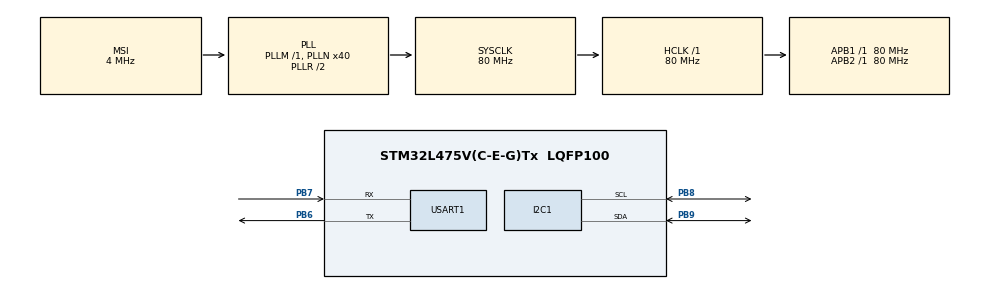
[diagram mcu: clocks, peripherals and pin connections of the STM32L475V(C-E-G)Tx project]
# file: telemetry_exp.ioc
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I2C1.Timing=0x10D19CE4
Mcu.Family=STM32L4
Mcu.Name=STM32L475V(C-E-G)Tx
Mcu.Package=LQFP100
NVIC.PriorityGroup=NVIC_PRIORITYGROUP_4
PB6.Mode=Asynchronous
PB6.Signal=USART1_TX
PB7.Mode=Asynchronous
PB7.Signal=USART1_RX
PB8.Mode=I2C
PB8.Signal=I2C1_SCL
PB9.Mode=I2C
PB9.Signal=I2C1_SDA
PH0-OSC_IN\ (PH0).Mode=HSE-External-Clock-Source
PH0-OSC_IN\ (PH0).Signal=RCC_OSC_IN
ProjectManager.HeapSize=0x200
ProjectManager.StackSize=0x400
ProjectManager.TargetToolchain=STM32CubeIDE
RCC.AHBFreq_Value=80000000
RCC.APB1Freq_Value=80000000
RCC.APB1TimFreq_Value=80000000
RCC.APB2Freq_Value=80000000
RCC.APB2TimFreq_Value=80000000
RCC.CortexFreq_Value=80000000
RCC.HCLKFreq_Value=80000000
RCC.HSE_VALUE=8000000
RCC.HSI_VALUE=16000000
RCC.LSE_VALUE=32768
RCC.MSI_VALUE=4000000
RCC.PLLN=40
RCC.SYSCLKFreq_VALUE=80000000
RCC.SYSCLKSource=RCC_SYSCLKSOURCE_PLLCLK
RCC.VCOOutputFreq_Value=160000000
USART1.VirtualMode-Asynchronous=VM_ASYNC
board=custom

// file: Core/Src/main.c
/* USER CODE BEGIN Header */
/**
  ******************************************************************************
  * @file           : main.c
  * @brief          : Main program body
  ******************************************************************************
  * @attention
  *
  * Copyright (c) 2026 STMicroelectronics.
  * All rights reserved.
  *
  * This software is licensed under terms that can be found in the LICENSE file
  * in the root directory of this software component.
  * If no LICENSE file comes with this software, it is provided AS-IS.
  *
  ******************************************************************************
  */
/* USER CODE END Header */
#include "main.h"

/* USER CODE BEGIN Includes */
#include "stm32l475e_iot01.h"
#include "stm32l475e_iot01_hsensor.h"
#include "stm32l475e_iot01_tsensor.h"
#include "stm32l475e_iot01_psensor.h"
#include "stm32l475e_iot01_accelero.h"
#include <math.h>
#include <string.h>
#include <stdio.h>
#include "stdlib.h"
/* USER CODE END Includes */

I2C_HandleTypeDef hi2c1;

UART_HandleTypeDef huart1;

/* USER CODE BEGIN PV */
char msg_motion[50] = "LSM6DSL motion sensor initialized\r\n";
char str_accel[100];
int16_t accel_data[3]; /* Accelerometer usually returns raw 16-bit integers */
char str1[40];
float p_value = 0;  // Measured pressure value
char str_pres[100] = ""; // Formatted message to display the pressure value
uint8_t msg3[] = "=====> Pressure sensor lps22hb initialized \r\n ";
char str2[50];
float temp_value = 0;
float hum_value = 0;// Measured temperature value
char str_tmp[100] = ""; // Formatted message to display the temperature value
uint8_t msg4[] = "=====> Temperature sensor HTS221 initialized \r\n ";

/* USER CODE END PV */

void SystemClock_Config(void);
static void MX_GPIO_Init(void);
static void MX_I2C1_Init(void);
static void MX_USART1_UART_Init(void);

int main(void)
{

  /* MCU Configuration--------------------------------------------------------*/

  /* Reset of all peripherals, Initializes the Flash interface and the Systick. */
  HAL_Init();

  /* Configure the system clock */
  SystemClock_Config();

  /* Initialize all configured peripherals */
  MX_GPIO_Init();
  MX_I2C1_Init();
  MX_USART1_UART_Init();
  /* USER CODE BEGIN 2 */
  HAL_UART_Transmit(&huart1,msg3,sizeof(msg3),1000);
   if (BSP_PSENSOR_Init() != PSENSOR_OK)
     {
         // Optional: Send an error message if init fails
         char err_msg[] = "Sensor Init Error\r\n";
         HAL_UART_Transmit(&huart1, (uint8_t*)err_msg, strlen(err_msg), 1000);
     }
   if (BSP_ACCELERO_Init() != ACCELERO_OK)
     {
         char errmsg[] = "Motion sensor Init Error\r\n";
         HAL_UART_Transmit(&huart1, (uint8_t*)errmsg, strlen(errmsg), 1000);
         while(1); // Stop here if init fails
     }
   else
    {
        HAL_UART_Transmit(&huart1, (uint8_t*)msg_motion, strlen(msg_motion), 1000);
    }
    HAL_Delay(100);
    if (BSP_HSENSOR_Init() != HSENSOR_OK) {  // Use HSENSOR for both!
      uint8_t error[] = "SENSOR INIT FAILED!\r\n";
     HAL_UART_Transmit(&huart1, error, sizeof(error)-1, 1000);
     } else {
     uint8_t ok[] = "HTS221 OK - T+H Working\r\n";
     HAL_UART_Transmit(&huart1, ok, sizeof(ok)-1, 1000);
      }
      HAL_UART_Transmit(&huart1, msg3, sizeof(msg3), 1000);
      BSP_TSENSOR_Init();
      BSP_HSENSOR_Init();
    HAL_UART_Transmit(&huart1,msg3,sizeof(msg3),1000);

  /* USER CODE END 2 */

  /* Infinite loop */
  while (1)
  {
	  float hum_value = BSP_HSENSOR_ReadHumidity();
	  float temp_value = BSP_TSENSOR_ReadTemp();  // ← SAME SENSOR!
	   // Debug both values
	  sprintf(str2, "Temperature:%.1fC Humidity:%.0f%%\r\n", temp_value, hum_value);
	  HAL_UART_Transmit(&huart1, (uint8_t*)str2, strlen(str2), 1000);
	  HAL_Delay(1000);
	  p_value = BSP_PSENSOR_ReadPressure();
	  sprintf(str_tmp, "Pressure:%.1f\n\r", p_value);
	  HAL_UART_Transmit(&huart1, (uint8_t*)str_tmp, strlen(str_tmp), 1000);  // Use strlen()
	  HAL_Delay(1000);
	  BSP_ACCELERO_AccGetXYZ(accel_data);
	  sprintf(str_accel, "Accelero: X=%.2f, Y=%.2f, Z=%.2f mg\r\n\r\n",(float)accel_data[0]/1000.0f, (float)accel_data[1]/1000.0f, (float)accel_data[2]/1000.0f);
	  HAL_UART_Transmit(&huart1, (uint8_t*)str_accel, strlen(str_accel), 1000);
	  HAL_Delay(1000);

  }
}

void SystemClock_Config(void)
{
  RCC_OscInitTypeDef RCC_OscInitStruct = {0};
  RCC_ClkInitTypeDef RCC_ClkInitStruct = {0};

  /** Configure the main internal regulator output voltage
  */
  if (HAL_PWREx_ControlVoltageScaling(PWR_REGULATOR_VOLTAGE_SCALE1) != HAL_OK)
  {
    Error_Handler();
  }

  /** Initializes the RCC Oscillators according to the specified parameters
  * in the RCC_OscInitTypeDef structure.
  */
  RCC_OscInitStruct.OscillatorType = RCC_OSCILLATORTYPE_MSI;
  RCC_OscInitStruct.MSIState = RCC_MSI_ON;
  RCC_OscInitStruct.MSICalibrationValue = 0;
  RCC_OscInitStruct.MSIClockRange = RCC_MSIRANGE_6;
  RCC_OscInitStruct.PLL.PLLState = RCC_PLL_ON;
  RCC_OscInitStruct.PLL.PLLSource = RCC_PLLSOURCE_MSI;
  RCC_OscInitStruct.PLL.PLLM = 1;
  RCC_OscInitStruct.PLL.PLLN = 40;
  RCC_OscInitStruct.PLL.PLLP = RCC_PLLP_DIV7;
  RCC_OscInitStruct.PLL.PLLQ = RCC_PLLQ_DIV2;
  RCC_OscInitStruct.PLL.PLLR = RCC_PLLR_DIV2;
  if (HAL_RCC_OscConfig(&RCC_OscInitStruct) != HAL_OK)
  {
    Error_Handler();
  }

  /** Initializes the CPU, AHB and APB buses clocks
  */
  RCC_ClkInitStruct.ClockType = RCC_CLOCKTYPE_HCLK|RCC_CLOCKTYPE_SYSCLK
                              |RCC_CLOCKTYPE_PCLK1|RCC_CLOCKTYPE_PCLK2;
  RCC_ClkInitStruct.SYSCLKSource = RCC_SYSCLKSOURCE_PLLCLK;
  RCC_ClkInitStruct.AHBCLKDivider = RCC_SYSCLK_DIV1;
  RCC_ClkInitStruct.APB1CLKDivider = RCC_HCLK_DIV1;
  RCC_ClkInitStruct.APB2CLKDivider = RCC_HCLK_DIV1;

  if (HAL_RCC_ClockConfig(&RCC_ClkInitStruct, FLASH_LATENCY_4) != HAL_OK)
  {
    Error_Handler();
  }
}

static void MX_I2C1_Init(void)
{

  hi2c1.Instance = I2C1;
  hi2c1.Init.Timing = 0x10D19CE4;
  hi2c1.Init.OwnAddress1 = 0;
  hi2c1.Init.AddressingMode = I2C_ADDRESSINGMODE_7BIT;
  hi2c1.Init.DualAddressMode = I2C_DUALADDRESS_DISABLE;
  hi2c1.Init.OwnAddress2 = 0;
  hi2c1.Init.OwnAddress2Masks = I2C_OA2_NOMASK;
  hi2c1.Init.GeneralCallMode = I2C_GENERALCALL_DISABLE;
  hi2c1.Init.NoStretchMode = I2C_NOSTRETCH_DISABLE;
  if (HAL_I2C_Init(&hi2c1) != HAL_OK)
  {
    Error_Handler();
  }

  /** Configure Analogue filter
  */
  if (HAL_I2CEx_ConfigAnalogFilter(&hi2c1, I2C_ANALOGFILTER_ENABLE) != HAL_OK)
  {
    Error_Handler();
  }

  /** Configure Digital filter
  */
  if (HAL_I2CEx_ConfigDigitalFilter(&hi2c1, 0) != HAL_OK)
  {
    Error_Handler();
  }

}

static void MX_USART1_UART_Init(void)
{

  huart1.Instance = USART1;
  huart1.Init.BaudRate = 115200;
  huart1.Init.WordLength = UART_WORDLENGTH_8B;
  huart1.Init.StopBits = UART_STOPBITS_1;
  huart1.Init.Parity = UART_PARITY_NONE;
  huart1.Init.Mode = UART_MODE_TX_RX;
  huart1.Init.HwFlowCtl = UART_HWCONTROL_NONE;
  huart1.Init.OverSampling = UART_OVERSAMPLING_16;
  huart1.Init.OneBitSampling = UART_ONE_BIT_SAMPLE_DISABLE;
  huart1.AdvancedInit.AdvFeatureInit = UART_ADVFEATURE_NO_INIT;
  if (HAL_UART_Init(&huart1) != HAL_OK)
  {
    Error_Handler();
  }

}

static void MX_GPIO_Init(void)
{

  /* GPIO Ports Clock Enable */
  __HAL_RCC_GPIOH_CLK_ENABLE();
  __HAL_RCC_GPIOB_CLK_ENABLE();

}

void Error_Handler(void)
{
  __disable_irq();
  while (1)
  {
  }
}
